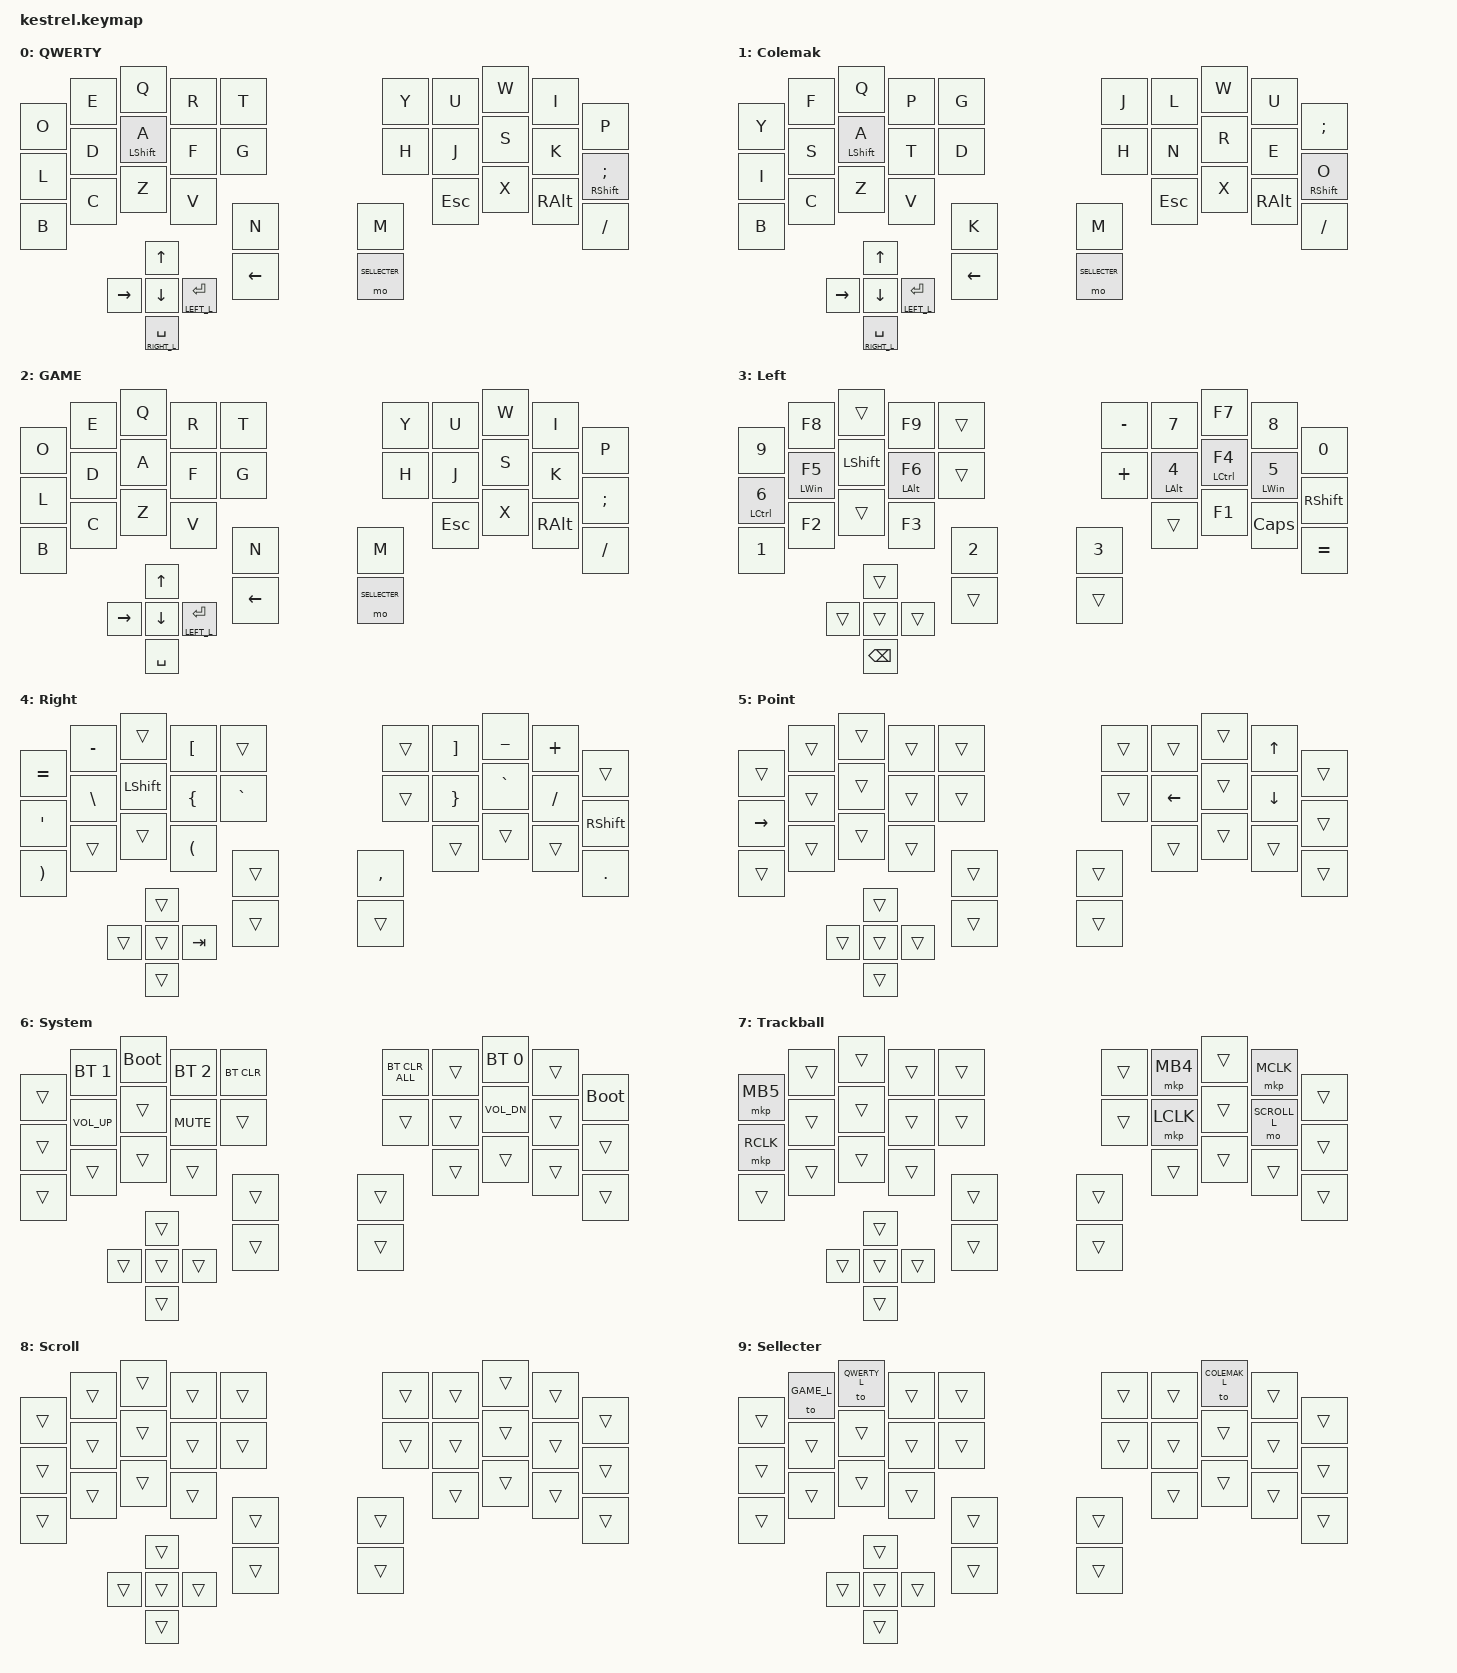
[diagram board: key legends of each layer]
#include <dt-bindings/zmk/matrix_transform.h>
#include <dt-bindings/input/input-event-codes.h>
#include "kestrel-layouts.dtsi"
#include <input/processors.dtsi>
#include <behaviors.dtsi>
#include <dt-bindings/zmk/keys.h>
#include <dt-bindings/zmk/bt.h>
#include <dt-bindings/zmk/pointing.h>

&mt {
    tapping-term-ms = <280>;
    flavor = "balanced";
};

&lt {
    tapping-term-ms = <250>;
};

            // --------------------------------------------------------------------------------------------------------------------------
            //|    0    |    1    |    2    |    3    |    4    |                    |    5    |    6    |    7     |    8    |    9    |
            //|    10   |    11   |    12   |    13   |    14   |                    |    15   |    16   |    17    |    18   |    19   |
            //|    20   |    21   |    22   |    23   |                                        |    26   |    27    |    28   |    29   |
            // --------------------------------------------------------------------------------------------------------------------------
            //              |    30    |              |    24   |                    |    25   |
            //   |    31    |    32    |    33   |    |    35   |                    |    36   |
            //              |    34    |

/ {
    keymap {
        compatible = "zmk,keymap";

        default_layer {
            display-name = "QWERTY";
            // --------------------------------------------------------------------------------------------------------------------------
            //|    Q    |    W    |    E    |    R    |    T    |                    |    Y    |    U    |    I     |    O    |    P    |
            //| A/SHIFT |    S    |    D    |    F    |    G    |                    |    H    |    J    |    K     |    L    | ;/SHIFT |
            //|    Z    |    X    |    C    |    V    |                                        |    B    |    N     |    M    |    /    |
            // --------------------------------------------------------------------------------------------------------------------------
            //              |    UP    |              |   ESC   |                    |   RALT  |
            //    |   LT    | LAYER_TOG|    RT   |    | ENTR/FN |                    |SPACE/FN |
            //              |    DN    |
            bindings = <
            &kp Q      &kp W      &kp E      &kp R      &kp T           /**/          &kp Y      &kp U      &kp I      &kp O      &kp P
            &mt LSHFT A &kp S     &kp D      &kp F      &kp G           /**/          &kp H      &kp J      &kp K      &kp L      &mt RSHFT SEMI
            &kp Z      &kp X      &kp C      &kp V      &kp ESC         /**/          &kp RALT   &kp B      &kp N      &kp M      &kp FSLH
            &kp UP &kp LEFT &mo SELLECTER &kp RIGHT &kp DOWN &lt LEFT_L ENTER    /**/          &lt RIGHT_L SPACE       
            >;
        };

        Colemak_layer {
            display-name = "Colemak";
            // --------------------------------------------------------------------------------------------------------------------------
            //|    Q    |    W    |    F    |    P    |    G    |                    |    J    |    L    |    U     |    Y    |    ;    |
            //| A/SHIFT |    R    |    S    |    T    |    D    |                    |    H    |    N    |    E     |    I    | O/SHIFT |
            //|    Z    |    X    |    C    |    V    |                                        |    B    |    K     |    M    |    /    |
            // --------------------------------------------------------------------------------------------------------------------------
            //              |    UP    |              |   ESC   |                    |   RALT  |
            //    |   LT    | QWER/COL |    RT   |    | ENTR/FN |                    |SPACE/FN |
            //              |    DN    |
            bindings = <
            &kp Q      &kp W      &kp F      &kp P      &kp G           /**/          &kp J      &kp L      &kp U      &kp Y      &kp SEMI
            &mt LSHFT A &kp R     &kp S      &kp T      &kp D           /**/          &kp H      &kp N      &kp E      &kp I      &mt RSHFT O
            &kp Z      &kp X      &kp C      &kp V      &kp ESC         /**/          &kp RALT   &kp B      &kp K      &kp M      &kp FSLH
            &kp UP &kp LEFT &mo SELLECTER &kp RIGHT &kp DOWN &lt LEFT_L ENTER    /**/          &lt RIGHT_L SPACE       
            >;
        };

        Game_layer {
            display-name = "GAME";
            // --------------------------------------------------------------------------------------------------------------------------
            //|    Q    |    W    |    E    |    R    |    T    |                    |    Y    |    U    |    I     |    O    |    P    |
            //|    A    |    S    |    D    |    F    |    G    |                    |    H    |    J    |    K     |    L    |    ;    |
            //|    Z    |    X    |    C    |    V    |                                        |    B    |    N     |    M    |    /    |
            // --------------------------------------------------------------------------------------------------------------------------
            //              |    UP    |              |   ESC   |                    |   RALT  |
            //    |   LT    | LAYER_TOG|    RT   |    | ENTR/FN |                    |SPACE/FN |
            //              |    DN    |
            bindings = <
            &kp Q      &kp W      &kp E      &kp R      &kp T           /**/          &kp Y      &kp U      &kp I      &kp O      &kp P
            &kp A      &kp S      &kp D      &kp F      &kp G           /**/          &kp H      &kp J      &kp K      &kp L      &kp SEMI
            &kp Z      &kp X      &kp C      &kp V      &kp ESC         /**/          &kp RALT   &kp B      &kp N      &kp M      &kp FSLH
            &kp UP &kp LEFT &mo SELLECTER &kp RIGHT &kp DOWN &lt LEFT_L ENTER  /**/          &kp SPACE       
            >;
        };

        left_layer {
            display-name = "Left";
            // --------------------------------------------------------------------------------------------------------------------------
            //|         |   F7    |    F8   |    F9   |         |                    |    -    |    7    |    8     |    9    |    0    |
            //| SHIFT   |   F4    |    F5   |    F6   |         |                    |    +    |    4    |    5     |    6    |  SHIFT  |
            //|         |   F1    |    F2   |    F3   |                                        |    1    |    2     |    3    |    =    |
            // --------------------------------------------------------------------------------------------------------------------------
            //              |          |              |         |                    | CPSLCK  |
            //    |         |          |         |    |         |                    |  BSPC   |
            //              |          |
            bindings = <
            &trans      &kp F7      &kp F8      &kp F9      &trans                     &kp MINUS   &kp N7      &kp N8      &kp N9      &kp N0
            &kp LSHFT  &mt LCTRL F4 &mt LWIN F5 &mt LALT F6 &trans                     &kp PLUS    &mt LALT N4 &mt LWIN N5 &mt LCTRL N6 &kp RSHFT
            &trans      &kp F1      &kp F2      &kp F3      &trans                     &kp CLCK    &kp N1      &kp N2      &kp N3      &kp EQUAL
                &trans  &trans  &trans  &trans  &trans      &trans                     &kp BSPC       
            >;
        };

        right_layer {
            display-name = "Right";
            // --------------------------------------------------------------------------------------------------------------------------
            //|         |    _    |    -    |    [    |         |                    |         |    ]    |    +     |    =    |         |
            //| SHIFT   |    `    |    \    |    {    |    ~    |                    |         |    }    |    /     |    '    |  SHIFT  |
            //|         |         |         |    (    |                                        |    )    |          |    ,    |    .    |
            // --------------------------------------------------------------------------------------------------------------------------
            //              |          |              |         |                    |         |
            //    |         |          |         |    |   TAB   |                    |         |
            //              |          |
            bindings = <
            &trans      &kp UNDER   &kp MINUS   &kp LBKT    &trans                     &trans      &kp RBKT    &kp PLUS    &kp EQUAL   &trans
            &kp LSHFT   &kp GRAVE   &kp BSLH    &kp LBRC    &kp GRAVE                  &trans      &kp RBRC    &kp FSLH    &kp SQT     &kp RSHFT
            &trans      &trans      &trans      &kp LPAR    &trans                     &trans      &kp RPAR      &trans     &kp COMMA   &kp DOT
                &trans  &trans  &trans  &trans  &trans      &kp TAB                     &trans       
            >;
        };

        point_layer {
            display-name = "Point";
            // --------------------------------------------------------------------------------------------------------------------------
            //|         |         |         |         |         |                    |         |         |    UP    |         |         |
            //|         |         |         |         |         |                    |         |   LEFT  |   DOWN   |  RIGHT  |         |
            //|         |         |         |         |                                        |         |          |         |         |
            // --------------------------------------------------------------------------------------------------------------------------
            //              |          |              |         |                    |         |
            //    |         |          |         |    |         |                    |         |
            //              |          |
            bindings = <
            &trans      &trans      &trans      &trans      &trans                     &trans      &trans      &kp UP      &trans      &trans
            &trans      &trans      &trans      &trans      &trans                     &trans      &kp LEFT    &kp DOWN    &kp RIGHT   &trans
            &trans      &trans      &trans      &trans      &trans                     &trans      &trans      &trans      &trans      &trans
                &trans  &trans  &trans  &trans  &trans      &trans                     &trans    
            >;
        };
        system_layer {
            display-name = "System";
            // --------------------------------------------------------------------------------------------------------------------------
            //|  BOOT   |   BT1   |   BT2   |   BT3   |  BT_CLR |                    |BT_CL_ALL|         |          |         |  BOOT   |
            //|         |VOL_DOWN |  VOL_UP |   MUTE  |         |                    |         |         |          |         |         |
            //|         |         |         |         |                                        |         |          |         |         |
            // --------------------------------------------------------------------------------------------------------------------------
            //              |          |              |         |                    |         |
            //    |         |          |         |    |         |                    |         |
            //              |          |
            bindings = <
            &bootloader &bt BT_SEL 0 &bt BT_SEL 1 &bt BT_SEL 2 &bt BT_CLR              &bt BT_CLR_ALL &trans      &trans      &trans      &bootloader
            &trans     &kp C_VOL_DN &kp C_VOL_UP &kp C_MUTE &trans                     &trans      &trans      &trans      &trans      &trans
            &trans      &trans      &trans      &trans      &trans                     &trans      &trans      &trans      &trans      &trans
                &trans  &trans  &trans  &trans  &trans      &trans                     &trans       
            >;
        };

        trackball_layer {
            display-name = "Trackball";
            bindings = <
            &trans      &trans      &trans      &trans      &trans                     &trans      &mkp MB4    &mkp MCLK    &mkp MB5      &trans
            &trans      &trans      &trans      &trans      &trans                     &trans      &mkp LCLK   &mo SCROLL_L &mkp RCLK  &trans
            &trans      &trans      &trans      &trans      &trans                     &trans      &trans      &trans      &trans      &trans
                &trans  &trans  &trans  &trans  &trans      &trans                     &trans       
            >;
        };

        scroll_layer {
            display-name = "Scroll";
            bindings = <
            &trans      &trans      &trans      &trans      &trans                     &trans      &trans      &trans      &trans      &trans
            &trans      &trans      &trans      &trans      &trans                     &trans      &trans      &trans      &trans      &trans
            &trans      &trans      &trans      &trans      &trans                     &trans      &trans      &trans      &trans      &trans
                &trans  &trans  &trans  &trans  &trans      &trans                     &trans       
            >;
        };

        sellect_layer {
            display-name = "Sellecter";
            bindings = <
            &to QWERTY_L &to COLEMAK_L &to GAME_L   &trans  &trans                     &trans      &trans      &trans      &trans      &trans
            &trans      &trans      &trans      &trans      &trans                     &trans      &trans      &trans      &trans      &trans
            &trans      &trans      &trans      &trans      &trans                     &trans      &trans      &trans      &trans      &trans
                &trans  &trans  &trans  &trans  &trans      &trans                     &trans       
            >;
        };
    };
};

/ {
    combos {
        compatible = "zmk,combos";
        combo_comma {
            timeout-ms = <50>;
            key-positions = <27 28>;
            bindings = <&kp COMMA>;
            layers = <QWERTY_L COLEMAK_L LEFT_L RIGHT_L>;
        };
        combo_dot {
            timeout-ms = <50>;
            key-positions = <28 29>;
            bindings = <&kp DOT>;
            layers = <QWERTY_L COLEMAK_L LEFT_L RIGHT_L>;
        };
        combo_ctrl_L {
            timeout-ms = <50>;
            key-positions = <10 11>;
            bindings = <&kp LCTRL>;
            layers = <QWERTY_L COLEMAK_L>;
        };
        combo_ctrl_R {
            timeout-ms = <50>;
            key-positions = <18 19>;
            bindings = <&kp LCTRL>;
            layers = <QWERTY_L COLEMAK_L>;
        };
        combo_win_L {
            timeout-ms = <50>;
            key-positions = <11 12>;
            bindings = <&kp LWIN>;
            layers = <QWERTY_L COLEMAK_L>;
        };
        combo_win_R {
            timeout-ms = <50>;
            key-positions = <17 18>;
            bindings = <&kp LWIN>;
            layers = <QWERTY_L COLEMAK_L>;
        };
        combo_alt_L {
            timeout-ms = <50>;
            key-positions = <12 13>;
            bindings = <&kp LALT>;
            layers = <QWERTY_L COLEMAK_L>;
        };
        combo_alt_R {
            timeout-ms = <50>;
            key-positions = <16 17>;
            bindings = <&kp LALT>;
            layers = <QWERTY_L COLEMAK_L>;
        };
        combo_point_L {
            timeout-ms = <50>;
            key-positions = <13 14>;
            bindings = <&mo POINT_L>;
            layers = <QWERTY_L COLEMAK_L>;
        };
        combo_sys_L {
            timeout-ms = <50>;
            key-positions = <15 16>;
            bindings = <&mo SYSTEM_L>;
            layers = <QWERTY_L COLEMAK_L>;
        };
        combo_ESC {
            timeout-ms = <50>;
            key-positions = <24 35>;
            bindings = <&kp ESC>;
            layers = <QWERTY_L COLEMAK_L>;
        };
        combo_Ralt {
            timeout-ms = <50>;
            key-positions = <25 36>;
            bindings = <&kp RALT>;
            layers = <QWERTY_L COLEMAK_L>;
        };
    };
};
